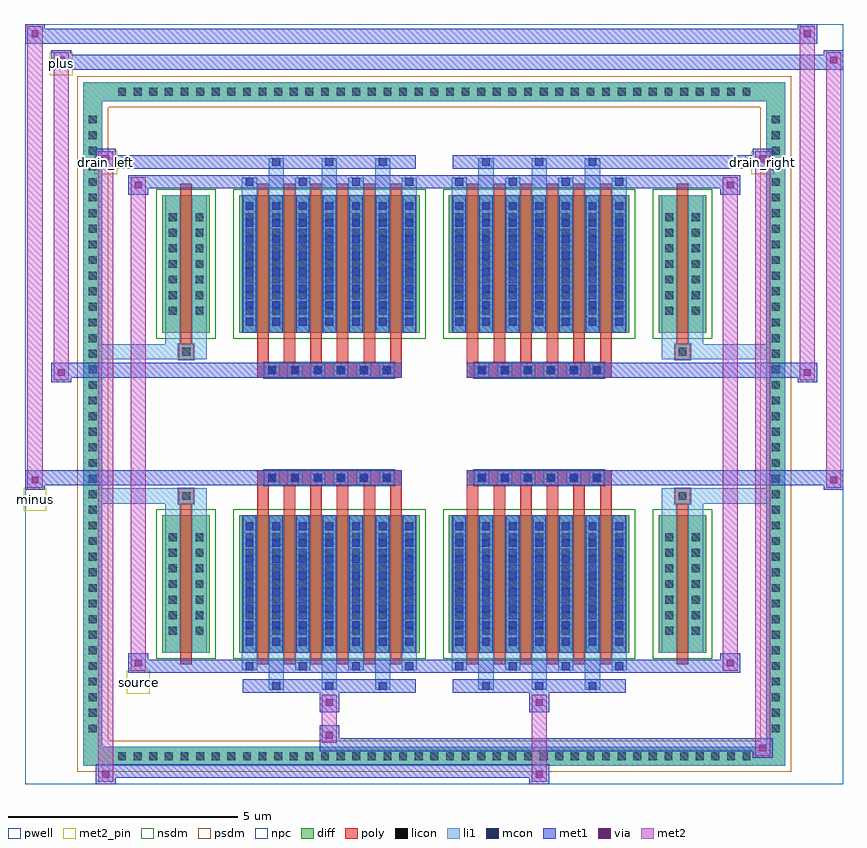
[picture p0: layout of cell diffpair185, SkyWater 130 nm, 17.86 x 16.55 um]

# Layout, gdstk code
import gdstk
lib = gdstk.Library(unit=1e-6, precision=5e-09)
def R(c, l, rs):  # rectangles x0, y0, x1, y1
    for r in rs: c.add(gdstk.rectangle(r[:2], r[2:], *l))
def A(c, l, x, y, w, h, nx, ny, dx, dy):  # array of equal rectangles
    R(c, l, [(x+i*dx, y+j*dy, x+i*dx+w, y+j*dy+h) for i in range(nx) for j in range(ny)])
def P(c, l, *ps):  # polygons
    for p in ps: c.add(gdstk.Polygon(p, *l))
pwell = (64, 44)
diff = (65, 20)
poly = (66, 20)
licon = (66, 44)
li1 = (67, 20)
mcon = (67, 44)
met1 = (68, 20)
via = (68, 44)
met2_pin = (69, 16)
met2 = (69, 20)
nsdm = (93, 44)
psdm = (94, 20)
npc = (95, 20)

diffpair185 = lib.new_cell('diffpair185')
R(diffpair185, pwell, [(-8.91,-7.84,8.91,8.71), (-6.23,-6.03,-0.01,-0.805), (0.01,-6.03,6.23,-0.805), (-6.23,0.805,-0.01,6.03), (0.01,0.805,6.23,6.03)])
A(diffpair185, diff, -7.005, -7.44, 0.41, 0.41, 41, 2, 0.34, 14.47)
A(diffpair185, diff, -7.64, -6.835, 0.41, 0.41, 1, 40, 0, 0.34)
A(diffpair185, diff, 7.23, -6.835, 0.41, 0.41, 1, 40, 0, 0.34)
R(diffpair185, diff, [(-7.005,-7.44,7.005,-7.03), (-7.64,-6.835,-7.23,6.835), (7.23,-6.835,7.64,6.835), (-5.92,-4.985,-4.89,-1.985), (-4.25,-4.985,-0.32,-1.985), (0.32,-4.985,4.25,-1.985), (4.89,-4.985,5.92,-1.985), (-5.92,1.985,-4.89,4.985), (-4.25,1.985,-0.32,4.985), (0.32,1.985,4.25,4.985), (4.89,1.985,5.92,4.985), (-7.005,7.03,7.005,7.44)])
P(diffpair185, diff, [(7.64,7.44),(-7.64,7.44),(-7.64,-7.03),(-7.23,-7.03),(-7.23,7.03),(7.23,7.03),(7.23,-7.03),(-7.23,-7.03),(-7.64,-7.03),(-7.64,-7.44),(7.64,-7.44)])
A(diffpair185, poly, -3.86, -5.235, 0.25, 3.5, 6, 2, 0.58, 6.97)
A(diffpair185, poly, 0.71, -5.235, 0.25, 3.5, 6, 2, 0.58, 6.97)
A(diffpair185, poly, -3.86, -1.735, 0.25, 0.4, 6, 2, 0.58, 3.07)
A(diffpair185, poly, 0.71, -1.735, 0.25, 0.4, 6, 2, 0.58, 3.07)
A(diffpair185, poly, -3.7, -1.335, 0.33, 0.33, 6, 2, 0.5, 2.34)
A(diffpair185, poly, 0.87, -1.335, 0.33, 0.33, 6, 2, 0.5, 2.34)
R(diffpair185, poly, [(-5.53,-5.235,-5.28,-1.735), (5.28,-5.235,5.53,-1.735), (-5.57,-1.735,-5.24,-1.405), (-5.57,-1.735,-5.24,-1.405), (5.24,-1.735,5.57,-1.405), (5.24,-1.735,5.57,-1.405), (-3.86,-1.335,-0.71,-1.005), (0.71,-1.335,3.86,-1.005), (-3.86,1.005,-0.71,1.335), (0.71,1.005,3.86,1.335), (-5.57,1.405,-5.24,1.735), (-5.57,1.405,-5.24,1.735), (5.24,1.405,5.57,1.735), (5.24,1.405,5.57,1.735), (-5.53,1.735,-5.28,5.235), (5.28,1.735,5.53,5.235)])
A(diffpair185, licon, -6.885, -7.32, 0.17, 0.17, 41, 2, 0.34, 14.47)
A(diffpair185, licon, -7.52, -6.715, 0.17, 0.17, 1, 40, 0, 0.34)
A(diffpair185, licon, 7.35, -6.715, 0.17, 0.17, 1, 40, 0, 0.34)
A(diffpair185, licon, -5.78, -4.59, 0.17, 0.17, 1, 7, 0, 0.34)
A(diffpair185, licon, -5.2, -4.59, 0.17, 0.17, 1, 7, 0, 0.34)
A(diffpair185, licon, -4.11, -4.59, 0.17, 0.17, 7, 7, 0.58, 0.34)
A(diffpair185, licon, 0.46, -4.59, 0.17, 0.17, 7, 7, 0.58, 0.34)
A(diffpair185, licon, 5.03, -4.59, 0.17, 0.17, 1, 7, 0, 0.34)
A(diffpair185, licon, 5.61, -4.59, 0.17, 0.17, 1, 7, 0, 0.34)
A(diffpair185, licon, -3.62, -1.255, 0.17, 0.17, 6, 2, 0.5, 2.34)
A(diffpair185, licon, 0.95, -1.255, 0.17, 0.17, 6, 2, 0.5, 2.34)
A(diffpair185, licon, -5.78, 2.38, 0.17, 0.17, 1, 7, 0, 0.34)
A(diffpair185, licon, -5.2, 2.38, 0.17, 0.17, 1, 7, 0, 0.34)
A(diffpair185, licon, -4.11, 2.38, 0.17, 0.17, 7, 7, 0.58, 0.34)
A(diffpair185, licon, 0.46, 2.38, 0.17, 0.17, 7, 7, 0.58, 0.34)
A(diffpair185, licon, 5.03, 2.38, 0.17, 0.17, 1, 7, 0, 0.34)
A(diffpair185, licon, 5.61, 2.38, 0.17, 0.17, 1, 7, 0, 0.34)
R(diffpair185, licon, [(-5.49,-1.655,-5.32,-1.485), (5.32,-1.655,5.49,-1.485), (-5.49,1.485,-5.32,1.655), (5.32,1.485,5.49,1.655)])
A(diffpair185, li1, -6.965, -7.4, 0.33, 0.33, 41, 2, 0.34, 14.47)
A(diffpair185, li1, -7.6, -6.795, 0.33, 0.33, 1, 40, 0, 0.34)
A(diffpair185, li1, 7.27, -6.795, 0.33, 0.33, 1, 40, 0, 0.34)
A(diffpair185, li1, -3.61, -5.79, 0.33, 0.805, 3, 2, 1.16, 10.775)
A(diffpair185, li1, -3.53, -5.79, 0.17, 0.17, 3, 2, 1.16, 11.41)
A(diffpair185, li1, 0.96, -5.79, 0.33, 0.805, 3, 2, 1.16, 10.775)
A(diffpair185, li1, 1.04, -5.79, 0.17, 0.17, 3, 2, 1.16, 11.41)
A(diffpair185, li1, -4.19, -5.36, 0.33, 0.375, 4, 2, 1.16, 10.345)
A(diffpair185, li1, -4.11, -5.36, 0.17, 0.17, 4, 2, 1.16, 10.55)
A(diffpair185, li1, 0.38, -5.36, 0.33, 0.375, 4, 2, 1.16, 10.345)
A(diffpair185, li1, 0.46, -5.36, 0.17, 0.17, 4, 2, 1.16, 10.55)
A(diffpair185, li1, -4.19, -4.985, 0.33, 3, 7, 2, 0.58, 6.97)
A(diffpair185, li1, 0.38, -4.985, 0.33, 3, 7, 2, 0.58, 6.97)
A(diffpair185, li1, -4.11, -4.83, 0.17, 0.17, 7, 8, 0.58, 0.36)
A(diffpair185, li1, -4.11, -4.83, 0.17, 2.69, 7, 2, 0.58, 6.97)
A(diffpair185, li1, 0.46, -4.83, 0.17, 0.17, 7, 8, 0.58, 0.36)
A(diffpair185, li1, 0.46, -4.83, 0.17, 2.69, 7, 2, 0.58, 6.97)
A(diffpair185, li1, -5.86, -4.67, 0.33, 0.33, 1, 7, 0, 0.34)
A(diffpair185, li1, -5.28, -4.67, 0.33, 0.33, 1, 7, 0, 0.34)
A(diffpair185, li1, -4.19, -4.67, 0.33, 0.33, 7, 7, 0.58, 0.34)
A(diffpair185, li1, 0.38, -4.67, 0.33, 0.33, 7, 7, 0.58, 0.34)
A(diffpair185, li1, 4.95, -4.67, 0.33, 0.33, 1, 7, 0, 0.34)
A(diffpair185, li1, 5.53, -4.67, 0.33, 0.33, 1, 7, 0, 0.34)
A(diffpair185, li1, -3.7, -1.335, 0.33, 0.33, 6, 2, 0.5, 2.34)
A(diffpair185, li1, 0.87, -1.335, 0.33, 0.33, 6, 2, 0.5, 2.34)
A(diffpair185, li1, -4.11, 2.14, 0.17, 0.17, 7, 8, 0.58, 0.36)
A(diffpair185, li1, 0.46, 2.14, 0.17, 0.17, 7, 8, 0.58, 0.36)
A(diffpair185, li1, -5.86, 2.3, 0.33, 0.33, 1, 7, 0, 0.34)
A(diffpair185, li1, -5.28, 2.3, 0.33, 0.33, 1, 7, 0, 0.34)
A(diffpair185, li1, -4.19, 2.3, 0.33, 0.33, 7, 7, 0.58, 0.34)
A(diffpair185, li1, 0.38, 2.3, 0.33, 0.33, 7, 7, 0.58, 0.34)
A(diffpair185, li1, 4.95, 2.3, 0.33, 0.33, 1, 7, 0, 0.34)
A(diffpair185, li1, 5.53, 2.3, 0.33, 0.33, 1, 7, 0, 0.34)
R(diffpair185, li1, [(-7.64,-7.44,-7.23,-7.03), (-7.64,-7.44,-7.23,-7.03), (-7.23,-7.44,7.23,-7.03), (7.23,-7.44,7.64,-7.03), (7.23,-7.44,7.64,-7.03), (-7.64,-7.03,-7.23,7.03), (7.23,-7.03,7.64,7.03), (-5.86,-4.985,-5.53,-1.985), (-5.28,-4.985,-4.95,-1.985), (4.95,-4.985,5.28,-1.985), (5.53,-4.985,5.86,-1.985), (-5.86,-1.985,-5.53,-1.405), (-5.28,-1.985,-4.95,-1.405), (4.95,-1.985,5.28,-1.405), (5.53,-1.985,5.86,-1.405), (-7.64,-1.735,-5.57,-1.405), (-5.86,-1.735,-5.57,-1.405), (-5.57,-1.735,-5.24,-1.405), (-5.24,-1.735,-4.95,-1.405), (4.95,-1.735,5.24,-1.405), (5.24,-1.735,5.57,-1.405), (5.24,-1.735,7.64,-1.405), (5.57,-1.735,5.86,-1.405), (-7.64,1.405,-5.57,1.735), (-5.86,1.405,-5.57,1.735), (-5.86,1.405,-5.53,1.985), (-5.57,1.405,-5.24,1.735), (-5.28,1.405,-4.95,1.985), (-5.24,1.405,-4.95,1.735), (4.95,1.405,5.24,1.735), (4.95,1.405,5.28,1.985), (5.24,1.405,5.57,1.735), (5.24,1.405,7.64,1.735), (5.53,1.405,5.86,1.985), (5.57,1.405,5.86,1.735), (-5.86,1.985,-5.53,4.985), (-5.28,1.985,-4.95,4.985), (4.95,1.985,5.28,4.985), (5.53,1.985,5.86,4.985), (-7.64,7.03,-7.23,7.44), (-7.64,7.03,-7.23,7.44), (-7.23,7.03,7.23,7.44), (7.23,7.03,7.64,7.44), (7.23,7.03,7.64,7.44)])
A(diffpair185, mcon, -3.53, -5.79, 0.17, 0.17, 3, 2, 1.16, 11.41)
A(diffpair185, mcon, 1.04, -5.79, 0.17, 0.17, 3, 2, 1.16, 11.41)
A(diffpair185, mcon, -4.11, -5.36, 0.17, 0.17, 4, 2, 1.16, 10.55)
A(diffpair185, mcon, 0.46, -5.36, 0.17, 0.17, 4, 2, 1.16, 10.55)
A(diffpair185, mcon, -4.11, -4.83, 0.17, 0.17, 7, 8, 0.58, 0.36)
A(diffpair185, mcon, 0.46, -4.83, 0.17, 0.17, 7, 8, 0.58, 0.36)
A(diffpair185, mcon, -3.62, -1.255, 0.17, 0.17, 6, 2, 0.5, 2.34)
A(diffpair185, mcon, 0.95, -1.255, 0.17, 0.17, 6, 2, 0.5, 2.34)
A(diffpair185, mcon, -4.11, 2.14, 0.17, 0.17, 7, 8, 0.58, 0.36)
A(diffpair185, mcon, 0.46, 2.14, 0.17, 0.17, 7, 8, 0.58, 0.36)
A(diffpair185, met1, -3.59, -5.85, 0.29, 0.29, 3, 2, 1.16, 11.41)
A(diffpair185, met1, 0.98, -5.85, 0.29, 0.29, 3, 2, 1.16, 11.41)
A(diffpair185, met1, -4.17, -5.42, 0.29, 0.29, 4, 2, 1.16, 10.55)
A(diffpair185, met1, 0.4, -5.42, 0.29, 0.29, 4, 2, 1.16, 10.55)
A(diffpair185, met1, -4.17, -4.985, 0.29, 3, 7, 2, 0.58, 6.97)
A(diffpair185, met1, 0.4, -4.985, 0.29, 3, 7, 2, 0.58, 6.97)
A(diffpair185, met1, -4.17, -4.89, 0.29, 0.29, 7, 8, 0.58, 0.36)
A(diffpair185, met1, 0.4, -4.89, 0.29, 0.29, 7, 8, 0.58, 0.36)
A(diffpair185, met1, -3.68, -1.315, 0.29, 0.29, 6, 2, 0.5, 2.34)
A(diffpair185, met1, 0.89, -1.315, 0.29, 0.29, 6, 2, 0.5, 2.34)
A(diffpair185, met1, -4.17, 2.08, 0.29, 0.29, 7, 8, 0.58, 0.36)
A(diffpair185, met1, 0.4, 2.08, 0.29, 0.29, 7, 8, 0.58, 0.36)
R(diffpair185, met1, [(-7.37,-7.84,-6.94,-7.41), (2.07,-7.84,2.5,-7.41), (-7.37,-7.7,2.5,-7.41), (6.94,-7.27,7.37,-6.84), (-2.5,-7.13,7.37,-6.84), (-2.5,-6.99,-2.07,-6.56), (-2.5,-6.28,-2.07,-5.85), (2.07,-6.28,2.5,-5.85), (-4.17,-5.85,-0.4,-5.56), (0.4,-5.85,4.17,-5.56), (-6.66,-5.42,-6.23,-4.99), (-6.66,-5.42,-4.17,-5.13), (-4.17,-5.42,-0.4,-5.13), (-0.4,-5.42,0.4,-5.13), (0.4,-5.42,4.17,-5.13), (4.17,-5.42,6.66,-5.13), (6.23,-5.42,6.66,-4.99), (-8.91,-1.435,-8.48,-1.005), (8.48,-1.435,8.91,-1.005), (-8.91,-1.335,-0.71,-1.005), (-3.86,-1.335,-0.71,-1.005), (0.71,-1.335,3.86,-1.005), (0.71,-1.335,8.91,-1.005), (-8.34,0.905,-7.91,1.335), (7.91,0.905,8.34,1.335), (-8.34,1.005,-3.86,1.335), (-3.86,1.005,-0.71,1.335), (0.71,1.005,3.86,1.335), (3.86,1.005,8.34,1.335), (-6.66,4.99,-6.23,5.42), (6.23,4.99,6.66,5.42), (-6.66,5.13,-4.17,5.42), (-4.17,5.13,-0.4,5.42), (-0.4,5.13,0.4,5.42), (0.4,5.13,4.17,5.42), (4.17,5.13,6.66,5.42), (-7.37,5.56,-6.94,5.99), (-7.37,5.56,-4.17,5.85), (-4.17,5.56,-0.4,5.85), (0.4,5.56,4.17,5.85), (4.17,5.56,7.37,5.85), (6.94,5.56,7.37,5.99), (-8.34,7.71,-7.91,8.14), (-8.34,7.71,-6.23,8.04), (-6.23,7.71,6.23,8.04), (6.23,7.71,8.91,8.04), (8.48,7.71,8.91,8.14), (-8.91,8.28,-8.48,8.71), (-8.91,8.28,-6.23,8.61), (-6.23,8.28,6.23,8.61), (6.23,8.28,8.34,8.61), (7.91,8.28,8.34,8.71)])
R(diffpair185, via, [(-7.23,-7.7,-7.08,-7.55), (2.21,-7.7,2.36,-7.55), (7.08,-7.13,7.23,-6.98), (-2.36,-6.85,-2.21,-6.7), (-2.36,-6.14,-2.21,-5.99), (2.21,-6.14,2.36,-5.99), (-6.52,-5.28,-6.37,-5.13), (6.37,-5.28,6.52,-5.13), (-8.77,-1.295,-8.62,-1.145), (8.62,-1.295,8.77,-1.145), (-8.2,1.045,-8.05,1.195), (8.05,1.045,8.2,1.195), (-6.52,5.13,-6.37,5.28), (6.37,5.13,6.52,5.28), (-7.23,5.7,-7.08,5.85), (7.08,5.7,7.23,5.85), (-8.2,7.85,-8.05,8), (8.62,7.85,8.77,8), (-8.77,8.42,-8.62,8.57), (8.05,8.42,8.2,8.57)])
R(diffpair185, met2_pin, [(-6.695,-5.87,-6.195,-5.37), (-8.945,-1.885,-8.445,-1.385), (-7.405,5.44,-6.905,5.94), (6.905,5.44,7.405,5.94), (-8.375,7.59,-7.875,8.09)])
R(diffpair185, met2, [(-7.32,-7.79,-6.99,-7.46), (-7.32,-7.79,-6.99,5.94), (2.12,-7.79,2.45,-7.46), (2.12,-7.46,2.45,-6.23), (6.99,-7.22,7.32,-6.89), (6.99,-7.22,7.32,5.94), (-2.45,-6.94,-2.12,-6.61), (-2.45,-6.61,-2.12,-6.23), (-2.45,-6.23,-2.12,-5.9), (2.12,-6.23,2.45,-5.9), (-6.61,-5.37,-6.28,-5.04), (-6.61,-5.37,-6.28,5.37), (6.28,-5.37,6.61,-5.04), (6.28,-5.37,6.61,5.37), (-8.86,-1.385,-8.53,-1.055), (-8.86,-1.385,-8.53,8.66), (8.53,-1.385,8.86,-1.055), (8.53,-1.385,8.86,8.09), (-8.29,0.955,-7.96,1.285), (-8.29,0.955,-7.96,8.09), (7.96,0.955,8.29,1.285), (7.96,0.955,8.29,8.66), (-6.61,5.04,-6.28,5.37), (6.28,5.04,6.61,5.37), (-7.32,5.61,-6.99,5.94), (6.99,5.61,7.32,5.94), (-8.29,7.76,-7.96,8.09), (8.53,7.76,8.86,8.09), (-8.86,8.33,-8.53,8.66), (7.96,8.33,8.29,8.66)])
P(diffpair185, met2, [(8.86,-1.385),(8.86,-1.385),(8.86,-1.055),(8.86,-1.055)],
  [(8.86,7.76),(8.86,7.76),(8.86,8.09),(8.86,8.09)],
  [(-8.53,-1.385),(-8.53,-1.385),(-8.53,-1.055),(-8.53,-1.055)],
  [(-8.53,8.33),(-8.53,8.33),(-8.53,8.66),(-8.53,8.66)],
  [(8.29,0.955),(8.29,0.955),(8.29,1.285),(8.29,1.285)],
  [(8.29,8.33),(8.29,8.33),(8.29,8.66),(8.29,8.66)],
  [(-7.96,0.955),(-7.96,0.955),(-7.96,1.285),(-7.96,1.285)],
  [(-7.96,7.76),(-7.96,7.76),(-7.96,8.09),(-7.96,8.09)],
  [(-6.99,-7.79),(-6.99,-7.79),(-6.99,-7.46),(-6.99,-7.46)],
  [(-6.99,5.61),(-6.99,5.61),(-6.99,5.94),(-6.99,5.94)],
  [(7.32,-7.22),(7.32,-7.22),(7.32,-6.89),(7.32,-6.89)],
  [(7.32,5.61),(7.32,5.61),(7.32,5.94),(7.32,5.94)],
  [(-6.28,-5.37),(-6.28,-5.37),(-6.28,-5.04),(-6.28,-5.04)],
  [(-6.28,5.04),(-6.28,5.04),(-6.28,5.37),(-6.28,5.37)],
  [(6.61,-5.37),(6.61,-5.37),(6.61,-5.04),(6.61,-5.04)],
  [(6.61,5.04),(6.61,5.04),(6.61,5.37),(6.61,5.37)])
R(diffpair185, nsdm, [(-6.05,-5.115,-4.76,-1.855), (-4.38,-5.115,-0.19,-1.855), (0.19,-5.115,4.38,-1.855), (4.76,-5.115,6.05,-1.855), (-6.05,1.855,-4.76,5.115), (-4.38,1.855,-0.19,5.115), (0.19,1.855,4.38,5.115), (4.76,1.855,6.05,5.115)])
P(diffpair185, psdm, [(7.77,7.57),(-7.77,7.57),(-7.77,-6.9),(-7.1,-6.9),(-7.1,6.9),(7.1,6.9),(7.1,-6.9),(-7.1,-6.9),(-7.77,-6.9),(-7.77,-7.57),(7.77,-7.57)])
A(diffpair185, npc, -3.72, -1.355, 0.37, 0.37, 6, 2, 0.5, 2.34)
A(diffpair185, npc, 0.85, -1.355, 0.37, 0.37, 6, 2, 0.5, 2.34)
R(diffpair185, npc, [(-5.59,-1.755,-5.22,-1.385), (5.22,-1.755,5.59,-1.385), (-3.72,-1.355,-2.85,-0.985), (-3.72,-1.355,-2.85,-0.985), (-3.22,-1.355,-2.35,-0.985), (-3.22,-1.355,-2.35,-0.985), (-2.72,-1.355,-1.85,-0.985), (-2.72,-1.355,-1.85,-0.985), (-2.22,-1.355,-1.35,-0.985), (-2.22,-1.355,-1.35,-0.985), (-1.72,-1.355,-0.85,-0.985), (-1.72,-1.355,-0.85,-0.985), (0.85,-1.355,1.72,-0.985), (0.85,-1.355,1.72,-0.985), (1.35,-1.355,2.22,-0.985), (1.35,-1.355,2.22,-0.985), (1.85,-1.355,2.72,-0.985), (1.85,-1.355,2.72,-0.985), (2.35,-1.355,3.22,-0.985), (2.35,-1.355,3.22,-0.985), (2.85,-1.355,3.72,-0.985), (2.85,-1.355,3.72,-0.985), (-3.72,0.985,-2.85,1.355), (-3.72,0.985,-2.85,1.355), (-3.22,0.985,-2.35,1.355), (-3.22,0.985,-2.35,1.355), (-2.72,0.985,-1.85,1.355), (-2.72,0.985,-1.85,1.355), (-2.22,0.985,-1.35,1.355), (-2.22,0.985,-1.35,1.355), (-1.72,0.985,-0.85,1.355), (-1.72,0.985,-0.85,1.355), (0.85,0.985,1.72,1.355), (0.85,0.985,1.72,1.355), (1.35,0.985,2.22,1.355), (1.35,0.985,2.22,1.355), (1.85,0.985,2.72,1.355), (1.85,0.985,2.72,1.355), (2.35,0.985,3.22,1.355), (2.35,0.985,3.22,1.355), (2.85,0.985,3.72,1.355), (2.85,0.985,3.72,1.355), (-5.59,1.385,-5.22,1.755), (5.22,1.385,5.59,1.755)])
diffpair185.add(gdstk.Label('minus', (-8.695,-1.635), layer=69, texttype=5))
diffpair185.add(gdstk.Label('drain_right', (7.155,5.69), layer=69, texttype=5))
diffpair185.add(gdstk.Label('drain_left', (-7.155,5.69), layer=69, texttype=5))
diffpair185.add(gdstk.Label('source', (-6.445,-5.62), layer=69, texttype=5))
diffpair185.add(gdstk.Label('plus', (-8.125,7.84), layer=69, texttype=5))

lib.write_gds('diffpair185.gds')
